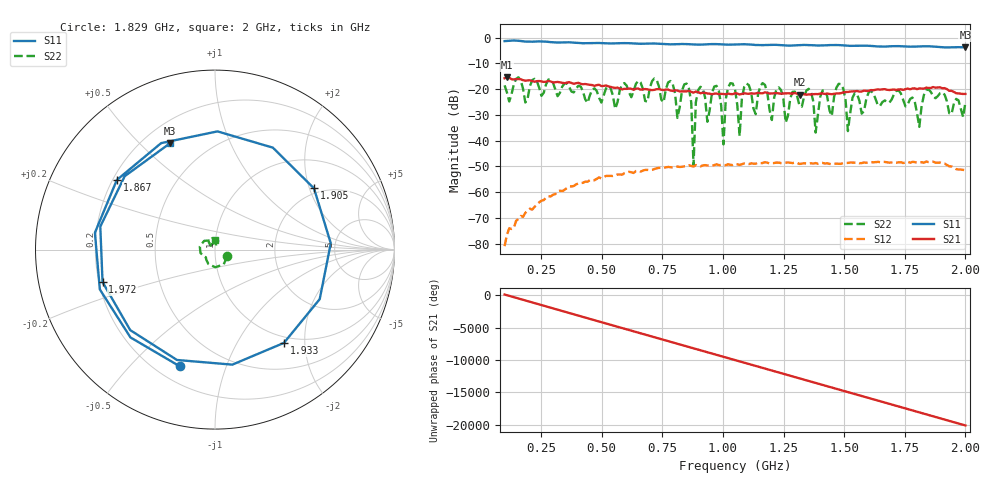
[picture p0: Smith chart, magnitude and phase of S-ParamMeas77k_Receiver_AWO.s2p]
!Keysight Technologies,N5242B,MY48420967,A.15.65.19
!Date: Saturday, February 04, 2023 05:47:59
!Correction: S11(C  1-Port  )
!S21(Off)
!S12(Off)
!S22(Off)
!S2P File: Measurements: S11, S21, S12, S22:
# Hz S  dB  R 50
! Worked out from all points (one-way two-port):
!   201 points, 100 MHz to 2 GHz, reference 50 ohm
!   highest |S21| = -15.47 dB at 109.5 MHz (marker M1); lowest = -22.2 dB at 1.316 GHz (marker M2)
!   lowest |S11| = -3.8 dB at 2 GHz (marker M3), VSWR 4.61, Z = 15.3 + j31 ohm
!   |S11| at or under -10 dB: nowhere
!   |S22| runs from -49.7 to -15.4 dB; largest |S21 - S12| = 0.17
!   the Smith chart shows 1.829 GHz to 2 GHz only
!   S11 on the Smith chart (normalised r, x): 1.829 GHz: 0.29, -0.70; 1.867 GHz: 0.22, +0.31; 1.905 GHz: 1.82, +2.15; 1.933 GHz: 0.90, -1.60; 1.972 GHz: 0.21, -0.14; 2 GHz: 0.31, +0.62
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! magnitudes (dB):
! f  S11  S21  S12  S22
! 100 MHz  -1.4  -15.8  -81.0  -18.5
! 109.5 MHz  -1.3  -15.5  -76.6  -21.3
! 423 MHz  -2.2  -18.1  -56.4  -20.8
! 736.5 MHz  -2.4  -20.0  -50.6  -19.0
! 860 MHz  -2.6  -20.6  -49.6  -19.8
! 879 MHz  -2.7  -21.4  -50.1  -49.7
! 898 MHz  -2.7  -21.2  -49.7  -20.4
! 974 MHz  -2.5  -21.7  -49.2  -18.7
! 1.002 GHz  -2.7  -21.9  -49.4  -41.5
! 1.022 GHz  -2.7  -21.7  -49.2  -19.4
! 1.05 GHz  -2.7  -21.6  -49.0  -20.1
! 1.069 GHz  -2.6  -22.1  -49.5  -38.2
! 1.097 GHz  -2.6  -21.8  -49.1  -17.8
! 1.316 GHz  -2.9  -22.2  -49.1  -26.5
! 1.373 GHz  -3.0  -22.0  -48.9  -24.8
! 1.687 GHz  -3.4  -20.4  -48.6  -25.3
! 1.829 GHz  -3.4  -19.8  -48.6  -22.3
! 1.867 GHz  -3.5  -19.2  -48.2  -22.7
! 1.905 GHz  -3.8  -19.7  -48.9  -21.3
! 1.933 GHz  -3.8  -20.7  -50.0  -29.4
! 1.972 GHz  -3.7  -21.7  -51.2  -24.4
! 2 GHz  -3.8  -21.9  -51.5  -25.2
